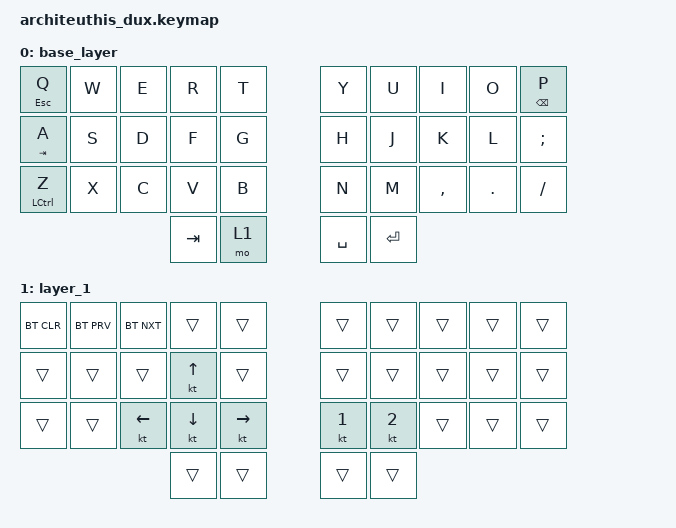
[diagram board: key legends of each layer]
/*
 * Copyright (c) 2021 The ZMK Contributors
 *
 * SPDX-License-Identifier: MIT
 */

#include <behaviors.dtsi>
#include <dt-bindings/zmk/bt.h>
#include <dt-bindings/zmk/keys.h>
#include <dt-bindings/zmk/keys.h>

/ {
    keymap {
        compatible = "zmk,keymap";

        // This is a sample keymap intended to be replaced with your own

        base_layer {
            bindings = <
&mt ESC Q    &kp W  &kp E  &kp R    &kp T  &kp Y      &kp U      &kp I      &kp O    &mt BACKSPACE P
&mt TAB A    &kp S  &kp D  &kp F    &kp G  &kp H      &kp J      &kp K      &kp L    &kp SEMI
&mt LCTRL Z  &kp X  &kp C  &kp V    &kp B  &kp N      &kp M      &kp COMMA  &kp DOT  &kp SLASH
                           &kp TAB  &mo 1  &kp SPACE  &kp ENTER
            >;
        };

        layer_1 {
            bindings = <
&bt BT_CLR  &bt BT_PRV  &bt BT_NXT      &trans          &trans           &trans        &trans        &trans  &trans  &trans
&trans      &trans      &trans          &kt UP_ARROW    &trans           &trans        &trans        &trans  &trans  &trans
&trans      &trans      &kt LEFT_ARROW  &kt DOWN_ARROW  &kt RIGHT_ARROW  &kt NUMBER_1  &kt NUMBER_2  &trans  &trans  &trans
                                        &trans          &trans           &trans        &trans
            >;
        };
    };
};
